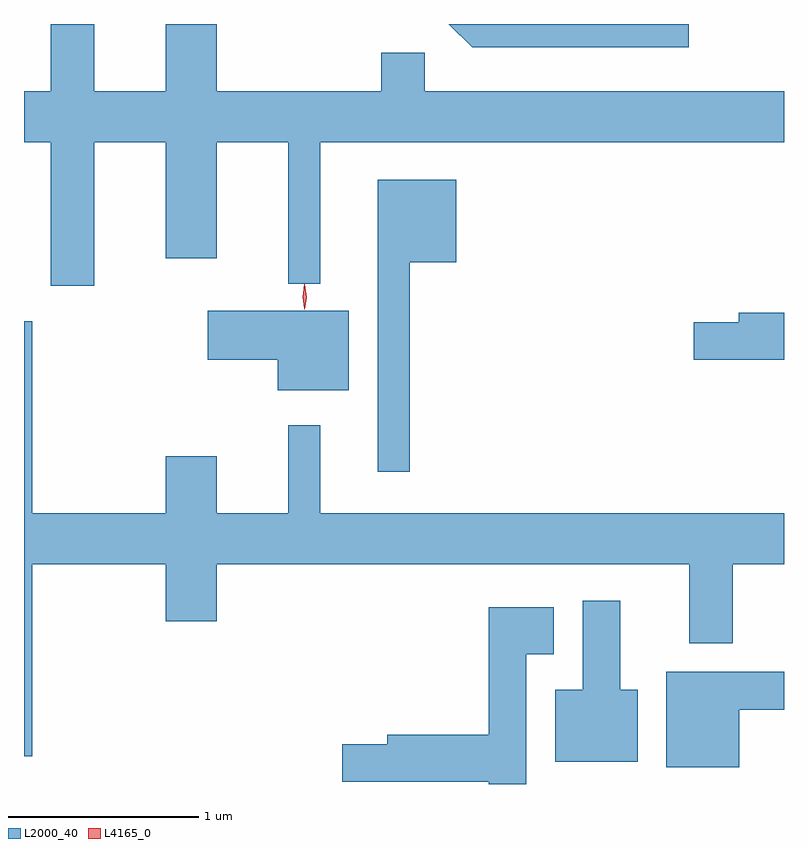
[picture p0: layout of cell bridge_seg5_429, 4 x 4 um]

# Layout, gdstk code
import gdstk
lib = gdstk.Library(unit=1e-6, precision=1e-09)
def P(c, l, *ps):  # polygons
    for p in ps: c.add(gdstk.Polygon(p, *l))
L2000_40 = (2000, 40)
L4165_0 = (4165, 0)

bridge_seg5_429 = lib.new_cell('bridge_seg5_429')
P(bridge_seg5_429, L2000_40, [(186.209,1483.436),(186.586,1483.436),(186.586,1482.826),(186.854,1482.826),(186.854,1483.436),(187.231,1483.436),(187.231,1482.693),(187.399,1482.693),(187.399,1483.436),(189.84,1483.436),(189.84,1483.704),(187.949,1483.704),(187.949,1483.909),(187.721,1483.909),(187.721,1483.704),(186.854,1483.704),(186.854,1484.059),(186.586,1484.059),(186.586,1483.704),(186.209,1483.704),(186.209,1484.059),(185.981,1484.059),(185.981,1483.704),(185.84,1483.704),(185.84,1483.436),(185.981,1483.436),(185.981,1482.681),(186.209,1482.681)],
  [(189.338,1484.059),(188.076,1484.059),(188.199,1483.936),(189.338,1483.936)],
  [(187.869,1482.806),(188.114,1482.806),(188.114,1483.239),(187.701,1483.239),(187.701,1481.703),(187.869,1481.703)],
  [(187.549,1482.549),(186.806,1482.549),(186.806,1482.291),(187.176,1482.291),(187.176,1482.131),(187.549,1482.131)],
  [(189.84,1482.539),(189.601,1482.539),(189.601,1482.489),(189.366,1482.489),(189.366,1482.291),(189.84,1482.291)],
  [(185.884,1481.216),(186.586,1481.216),(186.586,1480.916),(186.854,1480.916),(186.854,1481.216),(189.341,1481.216),(189.341,1480.801),(189.569,1480.801),(189.569,1481.216),(189.84,1481.216),(189.84,1481.484),(187.399,1481.484),(187.399,1481.948),(187.231,1481.948),(187.231,1481.484),(186.854,1481.484),(186.854,1481.784),(186.586,1481.784),(186.586,1481.484),(185.884,1481.484),(185.884,1482.494),(185.84,1482.494),(185.84,1480.206),(185.884,1480.206)],
  [(189.069,1480.554),(188.979,1480.554),(188.979,1481.024),(188.781,1481.024),(188.781,1480.554),(188.636,1480.554),(188.636,1480.176),(189.069,1480.176)],
  [(188.484,1480.741),(188.629,1480.741),(188.629,1480.989),(188.286,1480.989),(188.286,1480.319),(187.751,1480.319),(187.751,1480.269),(187.516,1480.269),(187.516,1480.071),(188.286,1480.071),(188.286,1480.059),(188.484,1480.059)],
  [(189.604,1480.451),(189.84,1480.451),(189.84,1480.649),(189.221,1480.649),(189.221,1480.146),(189.604,1480.146)])
P(bridge_seg5_429, L4165_0, [(187.317,1482.554),(187.317,1482.554),(187.307,1482.622),(187.316,1482.69),(187.316,1482.69),(187.317,1482.69),(187.327,1482.622),(187.318,1482.554)],
  [(187.317,1482.56),(187.316,1482.561),(187.307,1482.623),(187.316,1482.686),(187.316,1482.687),(187.317,1482.686),(187.327,1482.624),(187.317,1482.561)])

lib.write_gds('bridge_seg5_429.gds')
